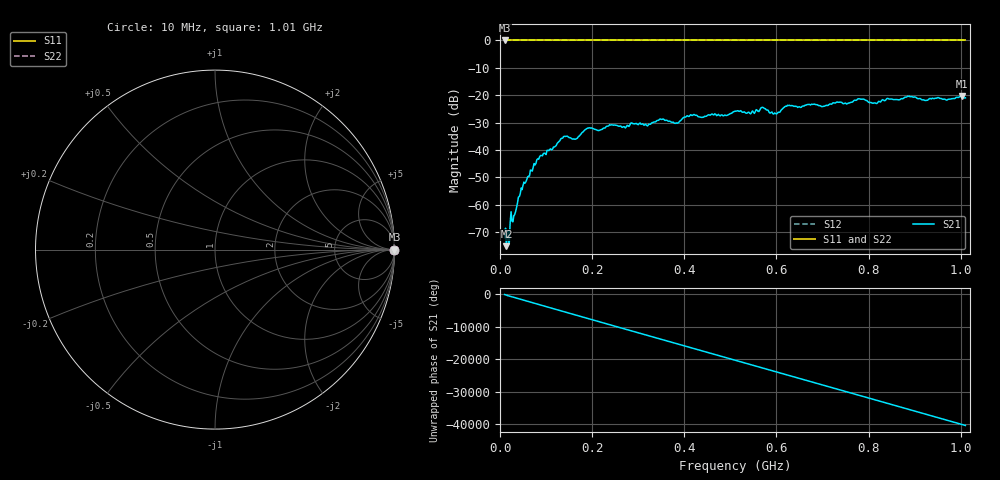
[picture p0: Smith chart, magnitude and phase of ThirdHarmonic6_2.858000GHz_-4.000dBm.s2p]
! 8/17/2025 7:46:20 AM
! C:\ANRITSUVNA\TEMP\TEMP.S2P
! CHANNEL.1
! TR.MEASUREMENT
! RAW.DATA
! RF.CORRECTION.OFF
! AVERAGING.OFF
! IF.BANDWIDTH: 5KHZ
! SWEEPTYPE:  FREQ.SWEEP(Linear)
! Reference Plane Port Info
! PORT:  PORT1  PORT2
! DISTANCE:  0  m  0  m
! TIME:  0  s  0  s
! PHASE.OFFSET:  0  deg.  0  deg.
! LOSS:  0  dB  0  dB
! REF.LOSS:  0  dB  0  dB
! REF.FREQ:  0  Hz  0  Hz
! Power Info
! POWER:  -20  dBm  -20  dBm
! EFF.POWER:  -20  dBm  -20  dBm
! SOURCE.ATTEN:  0  dB  0  dB
! TEST.ATTEN:  0  dB  0  dB
# GHZ S RI R 50.0
! FREQ.GHZ  S11RE  S11IM  S21RE  S21IM  S12RE  S12IM  S22RE  S22IM
!; PortSelection: Port_12
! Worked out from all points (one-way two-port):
!   501 points, 10 MHz to 1.01 GHz, reference 50 ohm
!   highest |S21| = -20.28 dB at 1.002 GHz (marker M1); lowest = -75.2 dB at 14 MHz (marker M2)
!   lowest |S11| = 0.0 dB at 10 MHz (marker M3)
!   |S11| at or under -10 dB: nowhere
!   |S22| runs from 0.0 to 0.0 dB; largest |S21 - S12| = 1.1
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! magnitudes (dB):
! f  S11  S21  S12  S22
! 10 MHz  0.0  -72.1  0.0  0.0
! 14 MHz  0.0  -75.2  0.0  0.0
! 18 MHz  0.0  -69.5  0.0  0.0
! 20 MHz  0.0  -74.2  0.0  0.0
! 48 MHz  0.0  -54.5  0.0  0.0
! 84 MHz  0.0  -43.4  0.0  0.0
! 136 MHz  0.0  -35.7  0.0  0.0
! 164 MHz  0.0  -36.1  0.0  0.0
! 178 MHz  0.0  -33.7  0.0  0.0
! 194 MHz  0.0  -31.9  0.0  0.0
! 322 MHz  0.0  -30.8  0.0  0.0
! 344 MHz  0.0  -29.2  0.0  0.0
! 382 MHz  0.0  -30.2  0.0  0.0
! 418 MHz  0.0  -27.4  0.0  0.0
! 510 MHz  0.0  -25.8  0.0  0.0
! 570 MHz  0.0  -24.5  0.0  0.0
! 598 MHz  0.0  -26.7  0.0  0.0
! 624 MHz  0.0  -23.7  0.0  0.0
! 678 MHz  0.0  -23.4  0.0  0.0
! 844 MHz  0.0  -21.4  0.0  0.0
! 1.002 GHz  0.0  -20.3  0.0  0.0
! 1.01 GHz  0.0  -21.0  0.0  0.0
